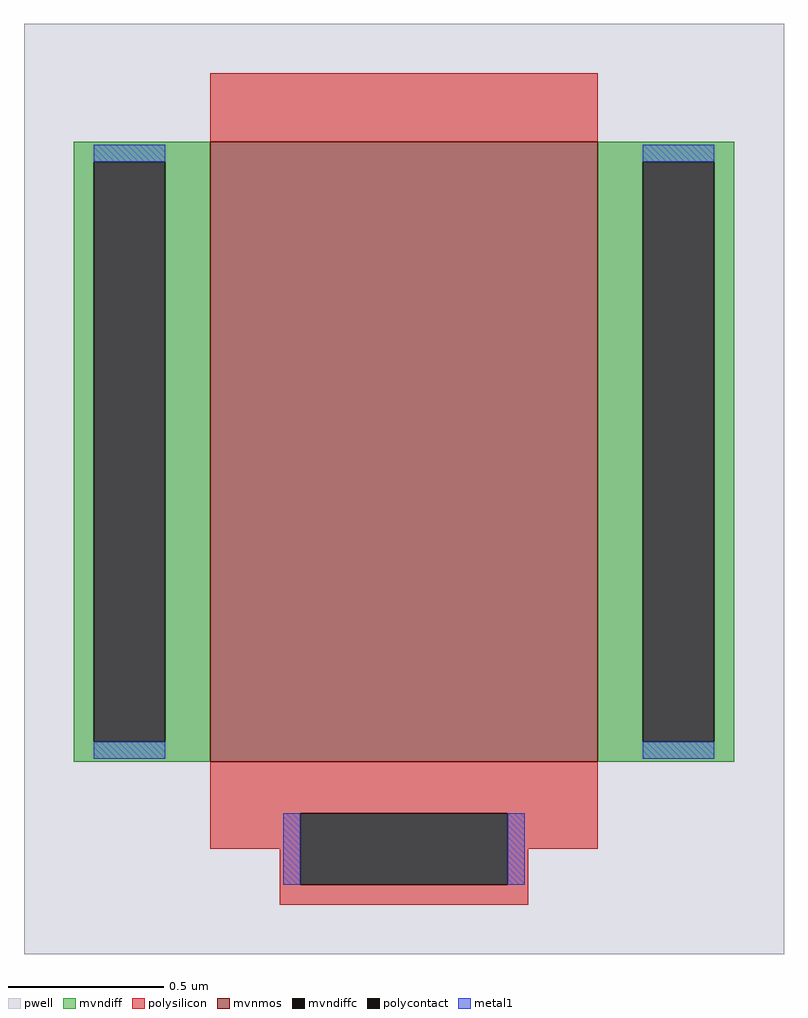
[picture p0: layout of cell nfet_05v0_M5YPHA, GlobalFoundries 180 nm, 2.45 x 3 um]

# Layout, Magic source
magic
tech gf180mcuD
magscale 1 10
<< pwell >>
rect -245 -300 245 300
<< mvnmos >>
rect -125 -176 125 224
<< mvndiff >>
rect -213 211 -125 224
rect -213 -163 -200 211
rect -154 -163 -125 211
rect -213 -176 -125 -163
rect 125 211 213 224
rect 125 -163 154 211
rect 200 -163 213 211
rect 125 -176 213 -163
<< mvndiffc >>
rect -200 -163 -154 211
rect 154 -163 200 211
<< polysilicon >>
rect -125 224 125 268
rect -125 -209 125 -176
rect -125 -232 -67 -209
rect -80 -255 -67 -232
rect 67 -232 125 -209
rect 67 -255 80 -232
rect -80 -268 80 -255
<< polycontact >>
rect -67 -255 67 -209
<< metal1 >>
rect -200 211 -154 222
rect -200 -174 -154 -163
rect 154 211 200 222
rect 154 -174 200 -163
rect -78 -255 -67 -209
rect 67 -255 78 -209
<< properties >>
string gencell nfet_05v0
string library gf180mcu
string parameters w 2 l 1.25 m 1 nf 1 diffcov 100 polycov 60 guard 0 glc 1 grc 1 gtc 0 gbc 0 tbcov 100 rlcov 100 topc 0 botc 1 poverlap 0 doverlap 1 lmin 0.7 wmin 0.3 class mosfet full_metal 1 compatible {nfet_03v3 nfet_05v0 nfet_06v0 nfet_06v0_nvt}
<< end >>
